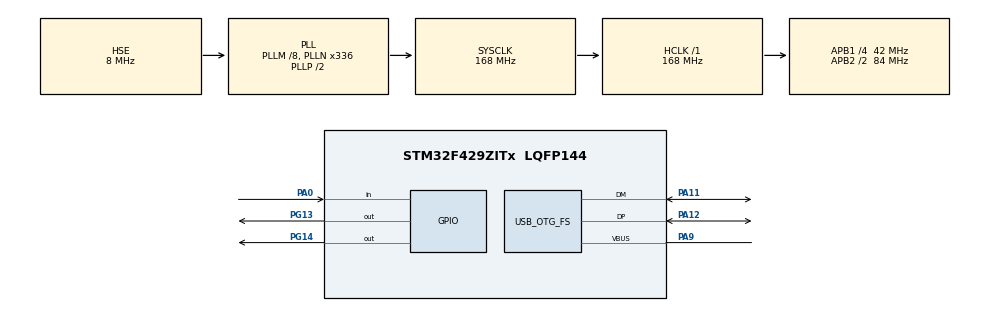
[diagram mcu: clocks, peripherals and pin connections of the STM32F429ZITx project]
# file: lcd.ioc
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FREERTOS.Tasks01=defaultTask,24,128,StartDefaultTask,Default,NULL,Dynamic,NULL,NULL
Mcu.Family=STM32F4
Mcu.Name=STM32F429ZITx
Mcu.Package=LQFP144
NVIC.OTG_FS_IRQn=true\:5\:0\:false\:false\:true\:true\:false\:true
NVIC.PriorityGroup=NVIC_PRIORITYGROUP_4
NVIC.TIM8_TRG_COM_TIM14_IRQn=true\:0\:0\:false\:false\:true\:false\:false\:true
NVIC.TimeBase=TIM8_TRG_COM_TIM14_IRQn
NVIC.TimeBaseIP=TIM14
PA0/WKUP.GPIO_PuPd=GPIO_PULLDOWN
PA0/WKUP.Signal=GPIO_Input
PA11.Mode=Device_Only
PA11.Signal=USB_OTG_FS_DM
PA12.Mode=Device_Only
PA12.Signal=USB_OTG_FS_DP
PA13.Mode=Serial_Wire
PA13.Signal=SYS_JTMS-SWDIO
PA14.Mode=Serial_Wire
PA14.Signal=SYS_JTCK-SWCLK
PA9.Mode=Activate_VBUS
PA9.Signal=USB_OTG_FS_VBUS
PC14/OSC32_IN.Mode=LSE-External-Oscillator
PC14/OSC32_IN.Signal=RCC_OSC32_IN
PC15/OSC32_OUT.Mode=LSE-External-Oscillator
PC15/OSC32_OUT.Signal=RCC_OSC32_OUT
PG13.GPIO_Speed=GPIO_SPEED_FREQ_VERY_HIGH
PG13.Signal=GPIO_Output
PG14.GPIO_Speed=GPIO_SPEED_FREQ_VERY_HIGH
PG14.Signal=GPIO_Output
PH0/OSC_IN.Mode=HSE-External-Oscillator
PH0/OSC_IN.Signal=RCC_OSC_IN
PH1/OSC_OUT.Mode=HSE-External-Oscillator
PH1/OSC_OUT.Signal=RCC_OSC_OUT
ProjectManager.HeapSize=0x2000
ProjectManager.StackSize=0x4000
ProjectManager.TargetToolchain=STM32CubeIDE
RCC.48MHZClocksFreq_Value=48000000
RCC.AHBFreq_Value=168000000
RCC.APB1CLKDivider=RCC_HCLK_DIV4
RCC.APB1Freq_Value=42000000
RCC.APB1TimFreq_Value=84000000
RCC.APB2CLKDivider=RCC_HCLK_DIV2
RCC.APB2Freq_Value=84000000
RCC.APB2TimFreq_Value=168000000
RCC.CortexFreq_Value=168000000
RCC.HCLKFreq_Value=168000000
RCC.HSE_VALUE=8000000
RCC.HSI_VALUE=16000000
RCC.PLLM=8
RCC.PLLN=336
RCC.PLLQ=7
RCC.PLLSAIN=50
RCC.SYSCLKFreq_VALUE=168000000
RCC.SYSCLKSource=RCC_SYSCLKSOURCE_PLLCLK
RCC.VCOOutputFreq_Value=336000000
STMicroelectronics.X-CUBE-TOUCHGFX.4.13.0.ApplicationCcGraphicsJjApplication=TouchGFXOoGenerator
STMicroelectronics.X-CUBE-TOUCHGFX.4.13.0.tgfx_display_interface=disp_ltdc
STMicroelectronics.X-CUBE-TOUCHGFX.4.13.0.tgfx_hardware_accelerator=dma_2d
STMicroelectronics.X-CUBE-TOUCHGFX.4.13.0.tgfx_ltdc_height=240
STMicroelectronics.X-CUBE-TOUCHGFX.4.13.0.tgfx_ltdc_width=320
STMicroelectronics.X-CUBE-TOUCHGFX.4.13.0.tgfx_vsync=vsync_ltdc
USB_DEVICE.CLASS_NAME_FS=CDC
USB_DEVICE.USBD_DEBUG_LEVEL-CDC_FS=3
USB_DEVICE.VirtualMode-CDC_FS=Cdc
USB_DEVICE.VirtualModeFS=Cdc_FS
USB_OTG_FS.VirtualMode=Device_Only
VP_FREERTOS_VS_CMSIS_V2.Mode=CMSIS_V2
VP_SYS_VS_tim14.Mode=TIM14
VP_USB_DEVICE_VS_USB_DEVICE_CDC_FS.Mode=CDC_FS
board=STM32F429I-DISC1

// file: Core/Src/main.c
/* USER CODE BEGIN Header */
/**
  ******************************************************************************
  * @file           : main.c
  * @brief          : Main program body
  ******************************************************************************
  * @attention
  *
  * <h2><center>&copy; Copyright (c) 2020 STMicroelectronics.
  * All rights reserved.</center></h2>
  *
  * This software component is licensed by ST under BSD 3-Clause license,
  * the "License"; You may not use this file except in compliance with the
  * License. You may obtain a copy of the License at:
  *                        opensource.org/licenses/BSD-3-Clause
  *
  ******************************************************************************
  */
/* USER CODE END Header */

#include "main.h"
#include "cmsis_os.h"
#include "usb_device.h"
#include "gpio.h"

void SystemClock_Config(void);
void MX_FREERTOS_Init(void);

int main(void)
{

  /* MCU Configuration--------------------------------------------------------*/

  /* Reset of all peripherals, Initializes the Flash interface and the Systick. */
  HAL_Init();

  /* Configure the system clock */
  SystemClock_Config();

  /* Initialize all configured peripherals */
  MX_GPIO_Init();
  /* Init scheduler */
  osKernelInitialize();

  /* Call init function for freertos objects (in freertos.c) */
  MX_FREERTOS_Init();

  /* Start scheduler */
  osKernelStart();

  /* We should never get here as control is now taken by the scheduler */

  /* Infinite loop */
  while (1)
  {

  }
}

void SystemClock_Config(void)
{
  RCC_OscInitTypeDef RCC_OscInitStruct = {0};
  RCC_ClkInitTypeDef RCC_ClkInitStruct = {0};

  /** Configure the main internal regulator output voltage
  */
  __HAL_RCC_PWR_CLK_ENABLE();
  __HAL_PWR_VOLTAGESCALING_CONFIG(PWR_REGULATOR_VOLTAGE_SCALE1);
  /** Initializes the CPU, AHB and APB busses clocks
  */
  RCC_OscInitStruct.OscillatorType = RCC_OSCILLATORTYPE_HSE;
  RCC_OscInitStruct.HSEState = RCC_HSE_ON;
  RCC_OscInitStruct.PLL.PLLState = RCC_PLL_ON;
  RCC_OscInitStruct.PLL.PLLSource = RCC_PLLSOURCE_HSE;
  RCC_OscInitStruct.PLL.PLLM = 8;
  RCC_OscInitStruct.PLL.PLLN = 336;
  RCC_OscInitStruct.PLL.PLLP = RCC_PLLP_DIV2;
  RCC_OscInitStruct.PLL.PLLQ = 7;
  if (HAL_RCC_OscConfig(&RCC_OscInitStruct) != HAL_OK)
  {
    Error_Handler();
  }
  /** Initializes the CPU, AHB and APB busses clocks
  */
  RCC_ClkInitStruct.ClockType = RCC_CLOCKTYPE_HCLK|RCC_CLOCKTYPE_SYSCLK
                              |RCC_CLOCKTYPE_PCLK1|RCC_CLOCKTYPE_PCLK2;
  RCC_ClkInitStruct.SYSCLKSource = RCC_SYSCLKSOURCE_PLLCLK;
  RCC_ClkInitStruct.AHBCLKDivider = RCC_SYSCLK_DIV1;
  RCC_ClkInitStruct.APB1CLKDivider = RCC_HCLK_DIV4;
  RCC_ClkInitStruct.APB2CLKDivider = RCC_HCLK_DIV2;

  if (HAL_RCC_ClockConfig(&RCC_ClkInitStruct, FLASH_LATENCY_5) != HAL_OK)
  {
    Error_Handler();
  }
}

void HAL_TIM_PeriodElapsedCallback(TIM_HandleTypeDef *htim)
{
  if (htim->Instance == TIM14) {
    HAL_IncTick();
  }
}

void Error_Handler(void)
{
}

/************************ (C) COPYRIGHT STMicroelectronics *****END OF FILE****/

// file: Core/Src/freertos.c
/* USER CODE BEGIN Header */
/**
  ******************************************************************************
  * File Name          : freertos.c
  * Description        : Code for freertos applications
  ******************************************************************************
  * @attention
  *
  * <h2><center>&copy; Copyright (c) 2020 STMicroelectronics.
  * All rights reserved.</center></h2>
  *
  * This software component is licensed by ST under Ultimate Liberty license
  * SLA0044, the "License"; You may not use this file except in compliance with
  * the License. You may obtain a copy of the License at:
  *                             www.st.com/SLA0044
  *
  ******************************************************************************
  */
/* USER CODE END Header */

#include "FreeRTOS.h"
#include "task.h"
#include "main.h"
#include "cmsis_os.h"

/* USER CODE BEGIN Includes */
///#include "usbd_cdc_if.h"
#include "stdio.h"
#include "string.h"
/* USER CODE END Includes */

/* USER CODE BEGIN Variables */
char buffer[] = "Welcome da vignesh";
/* USER CODE END Variables */
/* Definitions for defaultTask */
osThreadId_t defaultTaskHandle;
const osThreadAttr_t defaultTask_attributes = {
  .name = "defaultTask",
  .priority = (osPriority_t) osPriorityNormal,
  .stack_size = 128
};

/* USER CODE BEGIN FunctionPrototypes */
osThreadId_t guiTaskHandle;
const osThreadAttr_t guiTask_attributes = {
  .name = "guiTask",
  .priority = (osPriority_t)  osPriorityNormal,
  .stack_size = 128
};

void GuiTask(void *argument);
/* USER CODE END FunctionPrototypes */

void StartDefaultTask(void *argument);

extern void MX_USB_DEVICE_Init(void);
void MX_FREERTOS_Init(void); /* (MISRA C 2004 rule 8.1) */

void MX_FREERTOS_Init(void) {

  /* Create the thread(s) */
  /* creation of defaultTask */
  defaultTaskHandle = osThreadNew(StartDefaultTask, NULL, &defaultTask_attributes);

  /* USER CODE BEGIN RTOS_THREADS */
  guiTaskHandle = osThreadNew(GuiTask, NULL, &guiTask_attributes);
  /* USER CODE END RTOS_THREADS */

}

void StartDefaultTask(void *argument)
{
  /* init code for USB_DEVICE */
  MX_USB_DEVICE_Init();
  /* USER CODE BEGIN StartDefaultTask */
  /* Infinite loop */
  for(;;)
  {
	 HAL_GPIO_TogglePin(GPIOG, GPIO_PIN_14);
	 //printf("summa");
	 //CDC_Transmit_FS((uint8_t *)buffer, strlen(buffer));
	 osDelay(1000);
  }
  /* USER CODE END StartDefaultTask */
}

/* USER CODE BEGIN Application */
void GuiTask(void *argument)
{
  /* USER CODE BEGIN StartDefaultTask */
  /* Infinite loop */

  for(;;)
  {
	  if(HAL_GPIO_ReadPin(GPIOA, GPIO_PIN_0) == 1)
	  {
		  HAL_GPIO_WritePin(GPIOG, GPIO_PIN_13, GPIO_PIN_SET);
	  }
	  else
	  {
		  HAL_GPIO_WritePin(GPIOG, GPIO_PIN_13, GPIO_PIN_RESET);
	  }
  }
  /* USER CODE END StartDefaultTask */
}
/* USER CODE END Application */

/************************ (C) COPYRIGHT STMicroelectronics *****END OF FILE****/
